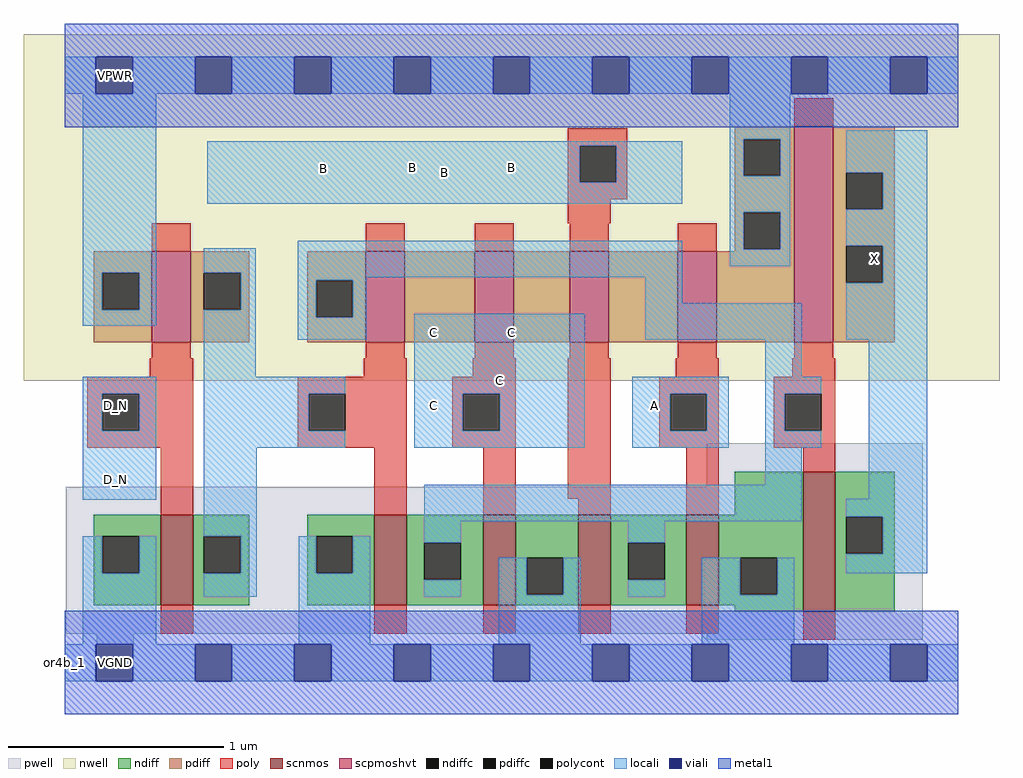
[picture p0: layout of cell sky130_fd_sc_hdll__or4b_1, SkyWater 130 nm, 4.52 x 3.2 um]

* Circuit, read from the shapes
.subckt sky130_fd_sc_hdll__or4b_1 A B C D_N VGND VNB VPB VPWR X
XM1 n1 D_N VGND VNB sky130_fd_pr__nfet_01v8 w=0.42 l=0.15
XM2 n2 n1 VGND VNB sky130_fd_pr__nfet_01v8 w=0.42 l=0.15
XM3 VGND C n2 VNB sky130_fd_pr__nfet_01v8 w=0.42 l=0.15
XM4 n2 B VGND VNB sky130_fd_pr__nfet_01v8 w=0.42 l=0.15
XM5 VGND A n2 VNB sky130_fd_pr__nfet_01v8 w=0.42 l=0.15
XM6 X n2 VGND VNB sky130_fd_pr__nfet_01v8 w=0.65 l=0.15
XM7 n1 D_N VPWR VPB sky130_fd_pr__pfet_01v8_hvt w=0.42 l=0.18
XM8 n3 n1 n2 VPB sky130_fd_pr__pfet_01v8_hvt w=0.42 l=0.18
XM9 n4 C n3 VPB sky130_fd_pr__pfet_01v8_hvt w=0.42 l=0.18
XM10 n5 B n4 VPB sky130_fd_pr__pfet_01v8_hvt w=0.42 l=0.18
XM11 VPWR A n5 VPB sky130_fd_pr__pfet_01v8_hvt w=0.42 l=0.18
XM12 X n2 VPWR VPB sky130_fd_pr__pfet_01v8_hvt w=1 l=0.18
.ends

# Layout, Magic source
magic
tech sky130A
magscale 1 2
<< nwell >>
rect -38 261 866 582
<< pwell >>
rect 595 163 795 203
rect 1 27 795 163
rect 30 -17 64 27
rect 595 21 795 27
<< scnmos >>
rect 89 53 119 137
rect 287 53 317 137
rect 388 53 418 137
rect 476 53 506 137
rect 576 53 606 137
rect 684 47 714 177
<< scpmoshvt >>
rect 81 297 117 381
rect 279 297 315 381
rect 380 297 416 381
rect 468 297 504 381
rect 568 297 604 381
rect 676 297 712 497
<< ndiff >>
rect 621 137 684 177
rect 27 117 89 137
rect 27 83 35 117
rect 69 83 89 117
rect 27 53 89 83
rect 119 117 171 137
rect 119 83 129 117
rect 163 83 171 117
rect 119 53 171 83
rect 225 117 287 137
rect 225 83 233 117
rect 267 83 287 117
rect 225 53 287 83
rect 317 111 388 137
rect 317 77 333 111
rect 367 77 388 111
rect 317 53 388 77
rect 418 97 476 137
rect 418 63 428 97
rect 462 63 476 97
rect 418 53 476 63
rect 506 111 576 137
rect 506 77 522 111
rect 556 77 576 111
rect 506 53 576 77
rect 606 97 684 137
rect 606 63 626 97
rect 660 63 684 97
rect 606 53 684 63
rect 621 47 684 53
rect 714 135 769 177
rect 714 101 724 135
rect 758 101 769 135
rect 714 47 769 101
<< pdiff >>
rect 621 485 676 497
rect 621 451 629 485
rect 663 451 676 485
rect 621 417 676 451
rect 621 383 629 417
rect 663 383 676 417
rect 621 381 676 383
rect 27 361 81 381
rect 27 327 35 361
rect 69 327 81 361
rect 27 297 81 327
rect 117 361 171 381
rect 117 327 129 361
rect 163 327 171 361
rect 117 297 171 327
rect 225 354 279 381
rect 225 320 233 354
rect 267 320 279 354
rect 225 297 279 320
rect 315 297 380 381
rect 416 297 468 381
rect 504 297 568 381
rect 604 297 676 381
rect 712 454 769 497
rect 712 420 724 454
rect 758 420 769 454
rect 712 386 769 420
rect 712 352 724 386
rect 758 352 769 386
rect 712 297 769 352
<< ndiffc >>
rect 35 83 69 117
rect 129 83 163 117
rect 233 83 267 117
rect 333 77 367 111
rect 428 63 462 97
rect 522 77 556 111
rect 626 63 660 97
rect 724 101 758 135
<< pdiffc >>
rect 629 451 663 485
rect 629 383 663 417
rect 35 327 69 361
rect 129 327 163 361
rect 233 320 267 354
rect 724 420 758 454
rect 724 352 758 386
<< poly >>
rect 676 497 712 523
rect 466 479 521 495
rect 466 445 477 479
rect 511 445 521 479
rect 466 429 521 445
rect 466 407 506 429
rect 81 381 117 407
rect 279 381 315 407
rect 380 381 416 407
rect 468 381 504 407
rect 568 381 604 407
rect 81 282 117 297
rect 279 282 315 297
rect 380 282 416 297
rect 468 282 504 297
rect 568 282 604 297
rect 676 282 712 297
rect 79 265 119 282
rect 277 265 317 282
rect 378 265 418 282
rect 21 249 119 265
rect 21 215 35 249
rect 69 215 119 249
rect 21 199 119 215
rect 216 249 317 265
rect 216 215 226 249
rect 260 215 317 249
rect 216 199 317 215
rect 359 249 418 265
rect 359 215 369 249
rect 403 215 418 249
rect 359 199 418 215
rect 89 137 119 199
rect 287 137 317 199
rect 388 137 418 199
rect 466 152 506 282
rect 566 265 606 282
rect 674 265 714 282
rect 551 249 606 265
rect 551 215 561 249
rect 595 215 606 249
rect 551 199 606 215
rect 657 249 714 265
rect 657 215 667 249
rect 701 215 714 249
rect 657 199 714 215
rect 476 137 506 152
rect 576 137 606 199
rect 684 177 714 199
rect 89 27 119 53
rect 287 27 317 53
rect 388 27 418 53
rect 476 27 506 53
rect 576 27 606 53
rect 684 21 714 47
<< polycont >>
rect 477 445 511 479
rect 35 215 69 249
rect 226 215 260 249
rect 369 215 403 249
rect 561 215 595 249
rect 667 215 701 249
<< locali >>
rect 0 527 29 561
rect 63 527 121 561
rect 155 527 213 561
rect 247 527 305 561
rect 339 527 397 561
rect 431 527 489 561
rect 523 527 581 561
rect 615 527 673 561
rect 707 527 765 561
rect 799 527 828 561
rect 17 361 85 527
rect 616 485 672 527
rect 132 479 572 483
rect 132 445 477 479
rect 511 445 572 479
rect 132 425 572 445
rect 616 451 629 485
rect 663 451 672 485
rect 616 417 672 451
rect 17 327 35 361
rect 69 327 85 361
rect 17 312 85 327
rect 129 361 177 384
rect 163 327 177 361
rect 129 265 177 327
rect 216 357 572 391
rect 616 383 629 417
rect 663 383 672 417
rect 616 367 672 383
rect 724 454 799 493
rect 758 420 799 454
rect 724 386 799 420
rect 216 354 280 357
rect 216 320 233 354
rect 267 320 280 354
rect 538 333 572 357
rect 758 352 799 386
rect 216 299 280 320
rect 17 249 85 265
rect 17 215 35 249
rect 69 215 85 249
rect 17 151 85 215
rect 129 249 260 265
rect 129 215 226 249
rect 129 199 260 215
rect 324 249 482 323
rect 538 299 683 333
rect 724 299 799 352
rect 649 265 683 299
rect 324 215 369 249
rect 403 215 482 249
rect 324 199 482 215
rect 526 249 615 265
rect 526 215 561 249
rect 595 215 615 249
rect 526 199 615 215
rect 649 249 701 265
rect 649 215 667 249
rect 649 199 701 215
rect 129 117 178 199
rect 649 165 683 199
rect 333 131 683 165
rect 745 152 799 299
rect 724 135 799 152
rect 17 83 35 117
rect 69 83 85 117
rect 17 17 85 83
rect 163 83 178 117
rect 129 61 178 83
rect 217 83 233 117
rect 267 83 283 117
rect 217 17 283 83
rect 333 111 367 131
rect 522 111 556 131
rect 333 61 367 77
rect 402 63 428 97
rect 462 63 478 97
rect 402 17 478 63
rect 758 101 799 135
rect 522 61 556 77
rect 590 63 626 97
rect 660 63 676 97
rect 724 83 799 101
rect 590 17 676 63
rect 0 -17 29 17
rect 63 -17 121 17
rect 155 -17 213 17
rect 247 -17 305 17
rect 339 -17 397 17
rect 431 -17 489 17
rect 523 -17 581 17
rect 615 -17 673 17
rect 707 -17 765 17
rect 799 -17 828 17
<< viali >>
rect 29 527 63 561
rect 121 527 155 561
rect 213 527 247 561
rect 305 527 339 561
rect 397 527 431 561
rect 489 527 523 561
rect 581 527 615 561
rect 673 527 707 561
rect 765 527 799 561
rect 29 -17 63 17
rect 121 -17 155 17
rect 213 -17 247 17
rect 305 -17 339 17
rect 397 -17 431 17
rect 489 -17 523 17
rect 581 -17 615 17
rect 673 -17 707 17
rect 765 -17 799 17
<< metal1 >>
rect 0 561 828 592
rect 0 527 29 561
rect 63 527 121 561
rect 155 527 213 561
rect 247 527 305 561
rect 339 527 397 561
rect 431 527 489 561
rect 523 527 581 561
rect 615 527 673 561
rect 707 527 765 561
rect 799 527 828 561
rect 0 496 828 527
rect 0 17 828 48
rect 0 -17 29 17
rect 63 -17 121 17
rect 155 -17 213 17
rect 247 -17 305 17
rect 339 -17 397 17
rect 431 -17 489 17
rect 523 -17 581 17
rect 615 -17 673 17
rect 707 -17 765 17
rect 799 -17 828 17
rect 0 -48 828 -17
<< labels >>
flabel locali s 132 425 572 483 0 FreeSans 400 0 0 0 B
port 2 nsew signal input
flabel locali s 30 153 64 187 0 FreeSans 400 0 0 0 D_N
port 4 nsew signal input
flabel locali s 322 459 322 459 0 FreeSans 400 0 0 0 B
port 2 nsew
flabel locali s 223 441 257 475 0 FreeSans 400 0 0 0 B
port 2 nsew
flabel locali s 529 221 563 255 0 FreeSans 400 0 0 0 A
port 1 nsew signal input
flabel locali s 733 357 767 391 0 FreeSans 200 0 0 0 X
port 9 nsew signal output
flabel locali s 324 199 482 323 0 FreeSans 400 0 0 0 C
port 3 nsew signal input
flabel locali s 325 221 359 255 0 FreeSans 400 0 0 0 C
port 3 nsew
flabel locali s 414 459 414 459 0 FreeSans 400 0 0 0 B
port 2 nsew
flabel locali s 414 306 414 306 0 FreeSans 400 0 0 0 C
port 3 nsew
flabel locali s 30 221 64 255 0 FreeSans 400 0 0 0 D_N
port 4 nsew signal input
flabel locali s 325 289 359 323 0 FreeSans 400 0 0 0 C
port 3 nsew
flabel metal1 s 30 527 64 561 0 FreeSans 200 0 0 0 VPWR
port 8 nsew power bidirectional
flabel metal1 s 30 -17 64 17 0 FreeSans 200 0 0 0 VGND
port 5 nsew ground bidirectional
flabel nwell s 30 527 64 561 0 FreeSans 200 0 0 0 VPB
port 7 nsew power bidirectional
flabel pwell s 30 -17 64 17 0 FreeSans 200 0 0 0 VNB
port 6 nsew ground bidirectional
rlabel comment s 0 0 0 0 4 or4b_1
<< properties >>
string LEFsite unithd
string LEFclass CORE
string FIXED_BBOX 0 0 828 544
string GDS_FILE $PDKPATH/libs.ref/sky130_fd_sc_hdll/gds/sky130_fd_sc_hdll.gds
string LEFsymmetry X Y R90
string GDS_END 2613414
string GDS_START 2606030
string LEFproperties maskLayoutSubType "abstract" prCellType "standard" originalViewName "layout"
<< end >>
